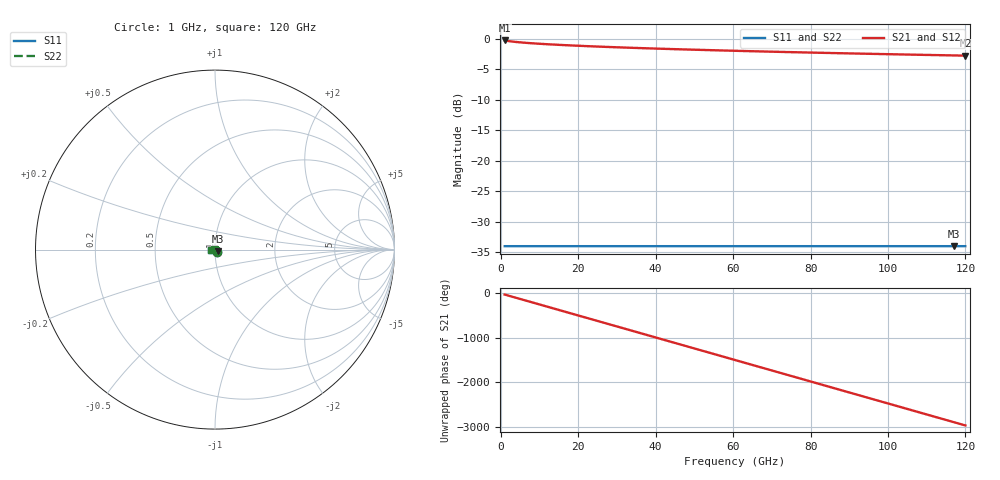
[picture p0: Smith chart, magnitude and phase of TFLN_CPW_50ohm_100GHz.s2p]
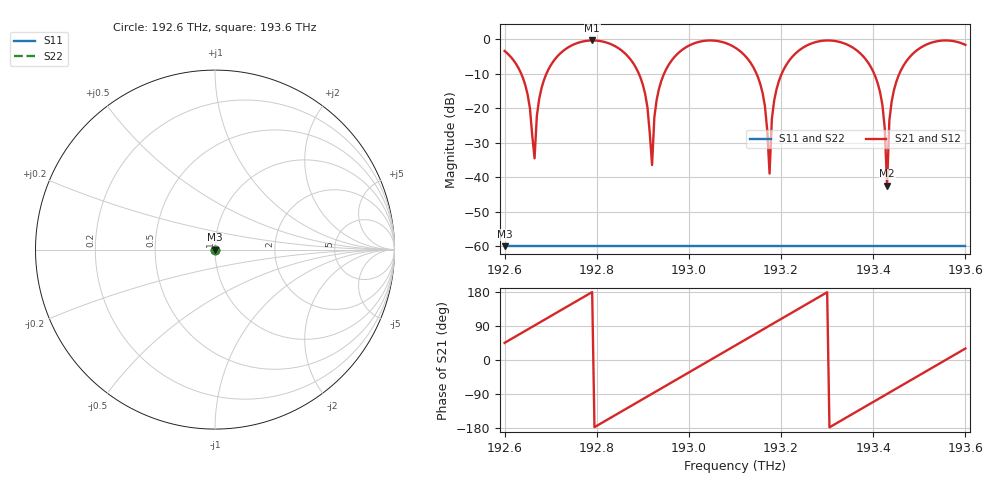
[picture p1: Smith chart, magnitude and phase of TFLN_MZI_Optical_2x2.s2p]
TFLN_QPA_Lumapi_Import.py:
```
#!/usr/bin/env python3
"""
Lumerical Python API (lumapi) Import Script
LightRail AI LR-P3A Rev 6.3 — Quantum Photonic Accelerator

Automates GDSII import and simulation setup using Lumerical's Python API.
Works with FDTD, MODE, and INTERCONNECT products.

Prerequisites:
    - Lumerical 2024 R1+ installed
    - lumapi Python module accessible:
      Windows: C:\\Program Files\\Lumerical\\v241\\api\\python\\lumapi.py
      Linux:   /opt/lumerical/v241/api/python/lumapi.py
    - Add lumapi path to PYTHONPATH or sys.path before import

Usage:
    python3 TFLN_QPA_Lumapi_Import.py

If lumapi is not installed, the script prints manual import instructions.
"""

import os
import sys
import json

# --------------------------------------------------------------------------
# Design Constants (from QPA Architecture Spec)
# --------------------------------------------------------------------------

DESIGN = {
    "name": "LightRail LR-P3A Rev 6.3 — TFLN QPA",
    "board_width_mm": 420.0,
    "board_height_mm": 350.0,
    "wavelength_nm": 1550.0,
    "tfln_thickness_nm": 600,
    "slab_height_nm": 200,
    "wg_width_nm": 800,
    "n_eff": 2.211,
    "n_group": 2.35,
    "v_pi": 3.5,
    "num_channels": 8,
    "mzi_arm_length_um": 500,
    "mzi_arm_spacing_um": 5.0,
    "bend_radius_um": 50,
    "electrode_gap_um": 3.0,
    "electrode_width_um": 5.0,
}

# GDSII layer mapping (from GDS_LayerMap.txt)
GDS_LAYERS = {
    0:   {"name": "F.Cu",       "desc": "Top copper (electrodes, pads)"},
    31:  {"name": "B.Cu",       "desc": "Bottom copper"},
    32:  {"name": "F.SilkS",    "desc": "Top silkscreen"},
    33:  {"name": "B.SilkS",    "desc": "Bottom silkscreen"},
    34:  {"name": "F.Mask",     "desc": "Top solder mask"},
    35:  {"name": "B.Mask",     "desc": "Bottom solder mask"},
    36:  {"name": "F.Fab",      "desc": "Fabrication (NCE die pads)"},
    37:  {"name": "B.Fab",      "desc": "Bottom fabrication"},
    38:  {"name": "F.Paste",    "desc": "Top solder paste"},
    39:  {"name": "B.Paste",    "desc": "Bottom solder paste"},
    40:  {"name": "Dwgs.User",  "desc": "MZI photonic waveguides"},
    41:  {"name": "Cmts.User",  "desc": "Comments/annotations"},
    44:  {"name": "Edge.Cuts",  "desc": "Board outline"},
    46:  {"name": "B.CrtYd",    "desc": "Bottom courtyard"},
    47:  {"name": "F.CrtYd",    "desc": "Front courtyard"},
    48:  {"name": "Eco1.User",  "desc": "Green substrate fills (NCE/TFLN)"},
    49:  {"name": "Eco2.User",  "desc": "Photonic bridge region (magenta)"},
}
# Inner copper layers: GDS 100-129 → In1.Cu through In30.Cu
for i in range(30):
    GDS_LAYERS[100 + i] = {
        "name": f"In{i+1}.Cu",
        "desc": f"Inner copper layer {i+1}"
    }


def try_import_lumapi():
    """Try to import lumapi from standard installation paths."""
    lumapi_paths = [
        # Windows paths
        r"C:\Program Files\Lumerical\v241\api\python",
        r"C:\Program Files\Lumerical\v232\api\python",
        r"C:\Program Files\Lumerical\v231\api\python",
        r"C:\Program Files\Lumerical\v224\api\python",
        # Linux paths
        "/opt/lumerical/v241/api/python",
        "/opt/lumerical/v232/api/python",
        "/opt/lumerical/v231/api/python",
        "/opt/lumerical/v224/api/python",
        # macOS paths
        "/Applications/Lumerical/v241/api/python",
    ]

    for path in lumapi_paths:
        if os.path.isdir(path):
            sys.path.insert(0, path)
            try:
                import lumapi
                return lumapi
            except ImportError:
                continue

    return None


def setup_fdtd(lumapi, gds_file):
    """Set up FDTD simulation with GDSII import."""
    fdtd = lumapi.FDTD()

    # Import photonic waveguide layer
    fdtd.gdsimport(gds_file, "MZI_Waveguides", 40, 0,
                   0, DESIGN["tfln_thickness_nm"] * 1e-9,
                   "LiNbO3 (Lithium Niobate) - Ordinary")

    # Import electrode layer
    fdtd.gdsimport(gds_file, "Electrodes", 0, 0,
                   DESIGN["tfln_thickness_nm"] * 1e-9,
                   (DESIGN["tfln_thickness_nm"] + 200) * 1e-9,
                   "Au (Gold) - CRC")

    # Add mode source
    fdtd.addmode()
    fdtd.set("name", "mode_src")
    fdtd.set("injection axis", "x-axis")
    fdtd.set("wavelength start", 1500e-9)
    fdtd.set("wavelength stop", 1600e-9)

    # Add FDTD region
    fdtd.addfdtd()
    fdtd.set("mesh accuracy", 3)
    fdtd.set("simulation time", 5000e-15)

    # Add monitors
    fdtd.addpower()
    fdtd.set("name", "T_output")
    fdtd.set("monitor type", "2D X-normal")

    fdtd.addpower()
    fdtd.set("name", "field_profile")
    fdtd.set("monitor type", "2D Z-normal")
    fdtd.set("z", DESIGN["tfln_thickness_nm"] * 1e-9 / 2)

    print("FDTD simulation setup complete.")
    return fdtd


def setup_mode(lumapi, gds_file):
    """Set up MODE simulation for waveguide cross-section analysis."""
    mode = lumapi.MODE()

    # Create TFLN rib waveguide structure
    mode.addrect()
    mode.set("name", "BOX")
    mode.set("x span", 10e-6)
    mode.set("y min", -2e-6)
    mode.set("y max", 0)
    mode.set("material", "SiO2 (Glass) - Palik")

    mode.addrect()
    mode.set("name", "TFLN_Slab")
    mode.set("x span", 10e-6)
    mode.set("y min", 0)
    mode.set("y max", DESIGN["slab_height_nm"] * 1e-9)
    mode.set("material", "LiNbO3 (Lithium Niobate) - Ordinary")

    mode.addrect()
    mode.set("name", "TFLN_Rib")
    mode.set("x span", DESIGN["wg_width_nm"] * 1e-9)
    mode.set("y min", DESIGN["slab_height_nm"] * 1e-9)
    mode.set("y max", DESIGN["tfln_thickness_nm"] * 1e-9)
    mode.set("material", "LiNbO3 (Lithium Niobate) - Ordinary")

    # Add FDE solver
    mode.addfde()
    mode.set("solver type", "2D X normal")
    mode.set("wavelength", DESIGN["wavelength_nm"] * 1e-9)
    mode.set("number of trial modes", 6)
    mode.set("mesh cells y", 200)
    mode.set("mesh cells z", 200)

    print("MODE simulation setup complete.")
    return mode


def setup_interconnect(lumapi):
    """Set up INTERCONNECT circuit simulation for 8-channel MZI mesh."""
    ic = lumapi.INTERCONNECT()

    # MZI mesh configuration from mesh compiler
    mesh_config = [
        (1, 0, 0.42, 0.15), (1, 2, 0.67, 0.33),
        (1, 4, 0.55, 0.22), (1, 6, 0.81, 0.48),
        (2, 1, 0.38, 0.12), (2, 3, 0.72, 0.41),
        (2, 5, 0.59, 0.28),
        (3, 0, 0.44, 0.19), (3, 2, 0.63, 0.37),
        (3, 4, 0.51, 0.26), (3, 6, 0.77, 0.44),
        (4, 1, 0.35, 0.14), (4, 3, 0.69, 0.39),
        (4, 5, 0.56, 0.31),
        (5, 0, 0.48, 0.21), (5, 2, 0.61, 0.35),
        (5, 4, 0.53, 0.24), (5, 6, 0.73, 0.42),
        (6, 1, 0.41, 0.17), (6, 3, 0.66, 0.38),
        (6, 5, 0.57, 0.29),
        (7, 0, 0.46, 0.20), (7, 2, 0.64, 0.36),
        (7, 4, 0.52, 0.25), (7, 6, 0.75, 0.43),
    ]

    # Add CW laser source
    ic.addelement("CW Laser")
    ic.set("frequency", 3e8 / (DESIGN["wavelength_nm"] * 1e-9))
    ic.set("power", 0.01)  # 10 mW

    # Add MZI elements
    for layer, ch, theta_frac, phi_frac in mesh_config:
        name = f"MZI_L{layer}_CH{ch}"
        ic.addelement("Optical Mach-Zehnder Modulator")
        ic.set("name", name)

    # Add optical power meters at outputs
    for ch in range(DESIGN["num_channels"]):
        ic.addelement("Optical Power Meter")
        ic.set("name", f"PM_CH{ch}")

    print(f"INTERCONNECT setup complete: {len(mesh_config)} MZI nodes, "
          f"{DESIGN['num_channels']} output channels.")
    return ic


def print_manual_instructions():
    """Print manual import instructions when lumapi is not available."""
    print("=" * 70)
    print("TFLN QPA — Lumerical Import Instructions")
    print("LightRail AI LR-P3A Rev 6.3")
    print("=" * 70)
    print()
    print("lumapi not found. Use these manual import steps:")
    print()
    print("--- GDSII File ---")
    print("  File: Dual_NCE_Accelerator.gds (3.3 MB)")
    print("  Location: fab/Dual_NCE_Accelerator_Fab_Release_v1/")
    print()
    print("--- Lumerical FDTD (MZI Waveguide Simulation) ---")
    print("  1. Open Lumerical FDTD Solutions")
    print("  2. File > Script File Editor > Open: TFLN_MZI_FDTD.lsf")
    print("  3. Click Run (or type 'run;' in console)")
    print("  4. Or: File > Import > GDSII > select .gds file")
    print("     - Layer 40 (Dwgs.User) = MZI waveguides")
    print("     - z min = 0, z max = 600 nm")
    print("     - Material: LiNbO3")
    print()
    print("--- Lumerical MODE (Waveguide Mode Analysis) ---")
    print("  1. Open Lumerical MODE Solutions")
    print("  2. File > Script File Editor > Open: TFLN_Waveguide_MODE.lsf")
    print("  3. Click Run — computes TE/TM modes + width sweep")
    print()
    print("--- Lumerical INTERCONNECT (Circuit Simulation) ---")
    print("  1. Open Lumerical INTERCONNECT")
    print("  2. File > Script File Editor > Open: TFLN_QPA_INTERCONNECT.lsf")
    print("  3. Click Run — builds 8x8 MZI mesh circuit")
    print()
    print("--- GDSII Layer Mapping ---")
    for layer_num in sorted(GDS_LAYERS.keys()):
        info = GDS_LAYERS[layer_num]
        print(f"  GDS Layer {layer_num:>3d} → {info['name']:<12s} ({info['desc']})")
    print()
    print("--- Key Photonic Layers for Lumerical ---")
    print("  Layer 40 (Dwgs.User)  → MZI waveguide paths (import as TFLN)")
    print("  Layer 0  (F.Cu)       → Electrodes (import as Au)")
    print("  Layer 49 (Eco2.User)  → Photonic bridge region")
    print("  Layer 48 (Eco1.User)  → Substrate fill regions")
    print()
    print("--- S-Parameter Files (for INTERCONNECT co-simulation) ---")
    print("  sim/sparam/TFLN_CPW_50ohm_100GHz.s2p")
    print("  sim/sparam/TFLN_MZI_Optical_2x2.s2p")
    print("  sim/sparam/CXL_Diff_Pair_85ohm.s4p")
    print("  sim/sparam/LVDS_Trigger_100ohm.s2p")


def export_design_json(filepath):
    """Export design parameters as JSON for tool interop."""
    data = {
        "project": DESIGN,
        "gds_layers": {str(k): v for k, v in GDS_LAYERS.items()},
        "photonic_layers": {
            "waveguides": 40,
            "electrodes": 0,
            "photonic_bridge": 49,
            "substrate_fill": 48,
            "board_outline": 44,
        },
        "simulation_files": {
            "fdtd_script": "TFLN_MZI_FDTD.lsf",
            "mode_script": "TFLN_Waveguide_MODE.lsf",
            "interconnect_script": "TFLN_QPA_INTERCONNECT.lsf",
            "gds_import_script": "TFLN_GDS_Import.lsf",
            "lumapi_script": "TFLN_QPA_Lumapi_Import.py",
        },
        "sparam_files": [
            "TFLN_CPW_50ohm_100GHz.s2p",
            "TFLN_MZI_Optical_2x2.s2p",
            "CXL_Diff_Pair_85ohm.s4p",
            "LVDS_Trigger_100ohm.s2p",
        ],
    }
    with open(filepath, "w") as f:
        json.dump(data, f, indent=2)
    print(f"Design parameters exported to: {filepath}")


if __name__ == "__main__":
    script_dir = os.path.dirname(os.path.abspath(__file__))

    # Export design parameters JSON
    export_design_json(os.path.join(script_dir, "design_params.json"))

    # Try lumapi
    lumapi = try_import_lumapi()

    if lumapi is None:
        print_manual_instructions()
    else:
        gds_file = os.path.join(
            script_dir, "..", "..", "fab",
            "Dual_NCE_Accelerator_Fab_Release_v1",
            "Dual_NCE_Accelerator.gds"
        )

        if not os.path.exists(gds_file):
            print(f"GDSII file not found at: {gds_file}")
            print("Update the path to your local copy of Dual_NCE_Accelerator.gds")
        else:
            print(f"GDSII file: {gds_file}")
            print()
            setup_fdtd(lumapi, gds_file)
            setup_mode(lumapi, gds_file)
            setup_interconnect(lumapi)
```
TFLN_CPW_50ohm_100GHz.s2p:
! Touchstone S2P File
! LightRail AI LR-P3A Rev 6.3 — QPA
! 50-ohm CPW on TFLN substrate, 5mm length, 1-120 GHz
! Generated by generate_sparams.py
# GHz S RI R 50.0
! freq  Re(S11)  Im(S11)  Re(S21)  Im(S21)  Re(S12)  Im(S12)  Re(S22)  Im(S22)
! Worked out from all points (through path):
!   120 points, 1 GHz to 120 GHz, reference 50 ohm
!   highest |S21| = -0.25 dB at 1 GHz (marker M1); lowest = -2.7 dB at 120 GHz (marker M2)
!   group delay of S21, straight-line fit = 68.7 ps
!   lowest |S11| = -34.0 dB at 117 GHz (marker M3), VSWR 1.04, Z = 51.8 - j0.999 ohm
!   |S11| at or under -10 dB: start of sweep to end of sweep
!   |S22| runs from -34.0 to -34.0 dB; largest |S21 - S12| = 0
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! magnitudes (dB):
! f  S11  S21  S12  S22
! 1 GHz  -34.0  -0.2  -0.2  -34.0
! 3 GHz  -34.0  -0.4  -0.4  -34.0
! 7 GHz  -34.0  -0.7  -0.7  -34.0
! 12 GHz  -34.0  -0.9  -0.9  -34.0
! 19 GHz  -34.0  -1.1  -1.1  -34.0
! 27 GHz  -34.0  -1.3  -1.3  -34.0
! 37 GHz  -34.0  -1.5  -1.5  -34.0
! 61 GHz  -34.0  -2.0  -2.0  -34.0
! 87 GHz  -34.0  -2.3  -2.3  -34.0
! 117 GHz  -34.0  -2.7  -2.7  -34.0
! 120 GHz  -34.0  -2.7  -2.7  -34.0
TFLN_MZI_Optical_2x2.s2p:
! Touchstone S2P File
! LightRail AI LR-P3A Rev 6.3 — QPA
! MZI 2x2 optical transfer, 500um arms, theta=0.42pi, freq axis = optical THz
! Generated by generate_sparams.py
# GHz S RI R 1.0
! freq  Re(S11)  Im(S11)  Re(S21)  Im(S21)  Re(S12)  Im(S12)  Re(S22)  Im(S22)
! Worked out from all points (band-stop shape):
!   201 points, 192.6 THz to 193.6 THz, reference 1 ohm
!   highest |S21| = -0.40 dB at 192.79 THz (marker M1); lowest = -42.5 dB at 193.43 THz (marker M2)
!   |S21| within 3 dB of the highest: 192.9827 THz to 193.1101 THz (127.4 GHz wide, 0.066 % of centre); 193.238 THz to 193.3654 THz (127.4 GHz wide, 0.0659 % of centre)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
!   lowest |S11| = -60.0 dB at 192.6 THz (marker M3), VSWR 1.00, Z = 1 + j0 ohm
!   |S11| at or under -10 dB: start of sweep to end of sweep
!   |S22| runs from -60.0 to -60.0 dB; largest |S21 - S12| = 0
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192600  0.001 0  0.4725 0.4775  0.4725 0.4775  0.001 0
192665  0.001 0  -0.000368 0.0187  -0.000368 0.0187  0.001 0
192790  0.001 0  -0.9548 0.0125  -0.9548 0.0125  0.001 0
192920  0.001 0  0.000236 -0.015  0.000236 -0.015  0.001 0
193100  0.001 0  0.5962 0.4625  0.5962 0.4625  0.001 0
193175  0.001 0  -0.000133 0.0112  -0.000133 0.0112  0.001 0
193220  0.001 0  -0.2742 0.4321  -0.2742 0.4321  0.001 0
193370  0.001 0  -0.4251 -0.4746  -0.4251 -0.4746  0.001 0
193430  0.001 0  5.9e-05 -0.0075  5.9e-05 -0.0075  0.001 0
193465  0.001 0  0.1722 -0.3671  0.1722 -0.3671  0.001 0
193600  0.001 0  0.7119 0.416  0.7119 0.416  0.001 0
